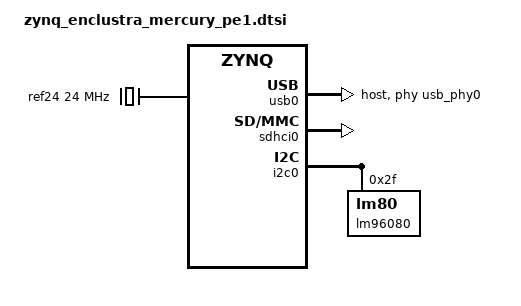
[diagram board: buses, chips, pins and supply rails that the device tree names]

/ {
	usb_phy0: phy0 {
		compatible = "ulpi-phy";
		#phy-cells = <0>;
		reg = <0xe0002000 0x1000>;
		view-port = <0x0170>;
		drv-vbus;
	};
};

&usb0 {
	status = "okay";
	dr_mode = "host";
	usb-phy = <&usb_phy0>;
};

&sdhci0 {
        u-boot,dm-pre-reloc;
        status = "okay";
        disable-wp;
};

&amba {
	ref24: ref24M {
		compatible = "fixed-clock";
		#clock-cells = <0>;
		clock-frequency = <24000000>;
	};
};

&i2c0 {	
	lm96080@2f {
		status = "okay";
		compatible = "lm80";
		reg = <0x2f >;
	};
};
